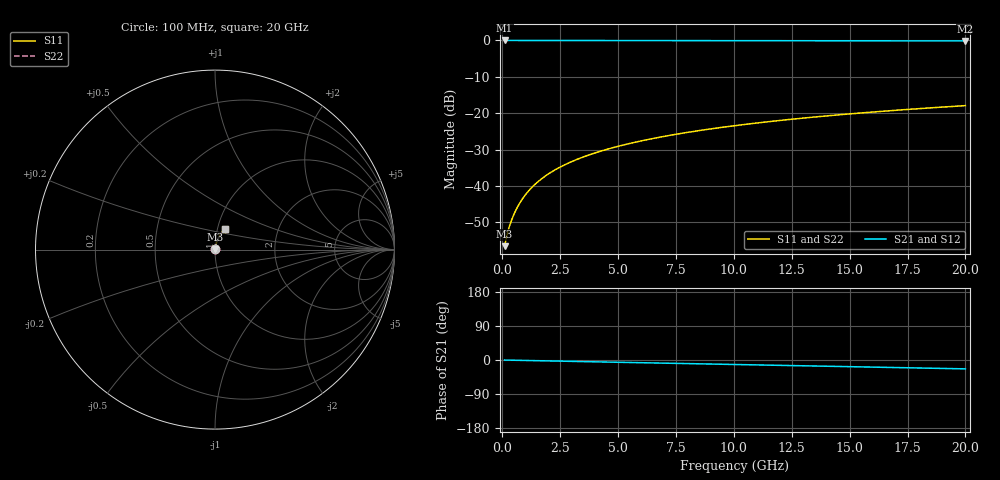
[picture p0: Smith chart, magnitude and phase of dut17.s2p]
! Touchstone file exported from HFSS 2026.1.0
!  File:  C:/ffzhzh/LocalFiles/Ansys_Project_Files/temp_val_BSMRDL_17_1782903297_42304.aedt
!  Generated:  06:56:07 PM Jul  1, 2026
!  Design:  BSMRDL
!  Project:  temp_val_BSMRDL_17_1782903297_42304
! Variables:
!  h_bsmrdl = 4.74um
!  h_ox = 20um
!  h_rdl = 5um
!  h_sub = 80um
!  h_tmrdl = 5um
!  h_tsv = 80um
!  h_via = 3um
!  l_bsmrdl = 371.94um
!  l_sub = 771.94um
!  l_tmrdl = 200um
!  m_sub = 200um
!  pitch = 43.1um
!  r_tsv = 6um
!  s_tmrdl = 10um
!  w_bsmrdl = 29.55um
!  w_sub = 500um
!  w_tmrdl = 12um
!  x_tsv_center1 = 206um
!  x_tsv_center2 = 607.49um
!  x_tsv_center3 = 819.49um
!  x_tsv_center4 = 1220.98um
!  x_tsv_center5 = 1432.98um
!  x_tsv_center6 = 1834.47um
# GHz S MA R 50.000000
! Terminal data exported
! Port[1] = BSM_RDL1_1_T1
! Port[2] = BSM_RDL1_1_T2
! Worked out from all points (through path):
!   200 points, 100 MHz to 20 GHz, reference 50 ohm
!   highest |S21| = -0.01 dB at 100 MHz (marker M1); lowest = -0.1 dB at 20 GHz (marker M2)
!   group delay of S21, straight-line fit = 3.24 ps
!   lowest |S11| = -56.5 dB at 100 MHz (marker M3), VSWR 1.00, Z = 50.1 + j0.0917 ohm
!   |S11| at or under -10 dB: start of sweep to end of sweep
!   |S22| runs from -56.5 to -17.9 dB; largest |S21 - S12| = 6.2e-15
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0.1  0.001492 37.8  0.9988 -0.1  0.9988 -0.1  0.001492 37.8
! Gamma 0 0 0 0
! Port Impedance 50 0 50 0
0.2  0.002119 51.6  0.9987 -0.3  0.9987 -0.3  0.00212 51.6
0.3  0.002746 59.5  0.9986 -0.4  0.9986 -0.4  0.002748 59.4
0.4  0.003397 64.8  0.9985 -0.5  0.9985 -0.5  0.003398 64.7
0.5  0.00407 68.5  0.9984 -0.6  0.9984 -0.6  0.004071 68.5
0.6  0.004759 71.2  0.9984 -0.7  0.9984 -0.7  0.004759 71.1
0.8  0.006165 74.6  0.9983 -1.0  0.9983 -1.0  0.006165 74.6
1.1  0.008304 77.4  0.9982 -1.3  0.9982 -1.3  0.008304 77.4
1.3  0.009736 78.4  0.9982 -1.6  0.9982 -1.6  0.009735 78.4
1.6  0.01188 79.3  0.998 -1.9  0.998 -1.9  0.01188 79.2
2.1  0.01542 79.8  0.9978 -2.6  0.9978 -2.6  0.01542 79.8
2.7  0.01961 79.9  0.9975 -3.3  0.9975 -3.3  0.01961 79.9
3.5  0.02509 79.5  0.997 -4.2  0.997 -4.2  0.02509 79.5
4.2  0.02981 79.0  0.9965 -5.1  0.9965 -5.1  0.02981 79.0
5  0.03512 78.4  0.9959 -6.0  0.9959 -6.0  0.03512 78.4
5.9  0.04102 77.6  0.9953 -7.1  0.9953 -7.1  0.04102 77.6
6.8  0.04686 76.8  0.9947 -8.1  0.9947 -8.1  0.04686 76.8
8.3  0.05646 75.4  0.9937 -9.9  0.9937 -9.9  0.05646 75.4
10.1  0.06782 73.6  0.9925 -12.0  0.9925 -12.0  0.06782 73.6
13.4  0.08822 70.3  0.9901 -15.8  0.9901 -15.8  0.08822 70.3
16.7  0.108 66.9  0.9874 -19.6  0.9874 -19.6  0.108 66.8
20  0.1271 63.3  0.9846 -23.4  0.9846 -23.4  0.1271 63.3
